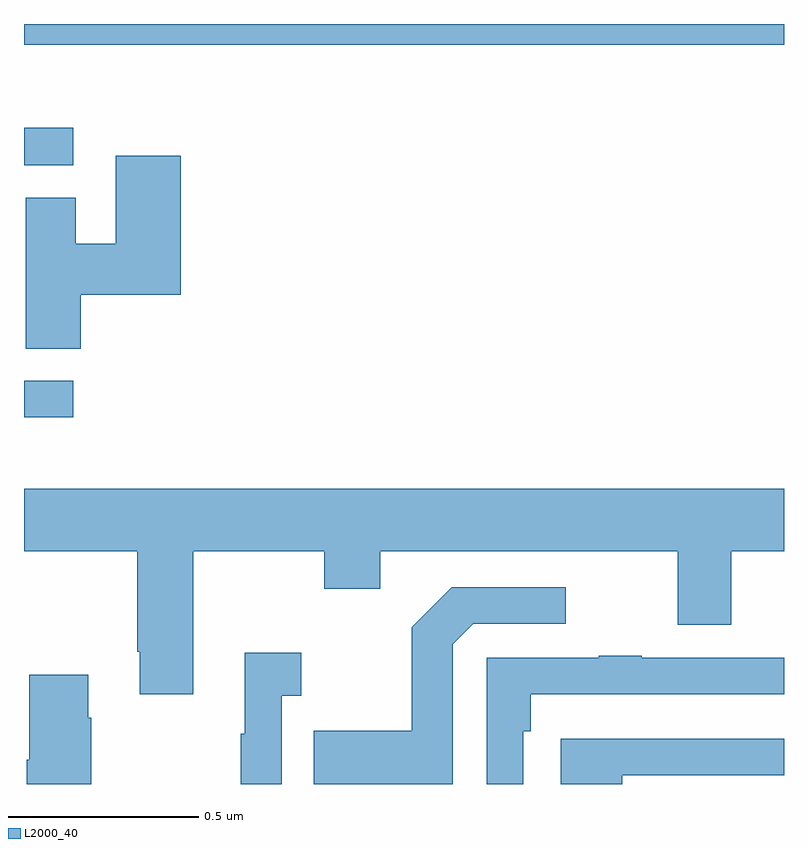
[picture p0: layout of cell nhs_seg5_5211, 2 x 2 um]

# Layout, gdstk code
import gdstk
lib = gdstk.Library(unit=1e-6, precision=1e-09)
def R(c, l, rs):  # rectangles x0, y0, x1, y1
    for r in rs: c.add(gdstk.rectangle(r[:2], r[2:], *l))
def P(c, l, *ps):  # polygons
    for p in ps: c.add(gdstk.Polygon(p, *l))
L2000_40 = (2000, 40)

nhs_seg5_5211 = lib.new_cell('nhs_seg5_5211')
R(nhs_seg5_5211, L2000_40, [(180,871.764,180.13,871.86), (180,872.427,180.13,872.526), (180,872.744,182,872.799)])
P(nhs_seg5_5211, L2000_40, [(180.149,872.087),(180.413,872.087),(180.413,872.452),(180.242,872.452),(180.242,872.221),(180.136,872.221),(180.136,872.342),(180.005,872.342),(180.005,871.945),(180.149,871.945)],
  [(180,871.412),(180.298,871.412),(180.298,871.147),(180.305,871.147),(180.305,871.035),(180.445,871.035),(180.445,871.412),(180.79,871.412),(180.79,871.313),(180.937,871.313),(180.937,871.412),(181.721,871.412),(181.721,871.218),(181.861,871.218),(181.861,871.412),(182,871.412),(182,871.576),(180,871.576)],
  [(181.128,871.167),(181.182,871.221),(181.426,871.221),(181.426,871.317),(181.125,871.317),(181.02,871.211),(181.02,870.939),(180.763,870.939),(180.763,870.799),(181.128,870.799)],
  [(180.678,871.031),(180.73,871.031),(180.73,871.144),(180.581,871.144),(180.581,870.931),(180.57,870.931),(180.57,870.799),(180.678,870.799)],
  [(181.314,870.938),(181.334,870.938),(181.334,871.035),(182,871.035),(182,871.131),(181.625,871.131),(181.625,871.136),(181.513,871.136),(181.513,871.131),(181.218,871.131),(181.218,870.799),(181.314,870.799)],
  [(180.177,870.974),(180.169,870.974),(180.169,871.087),(180.014,871.087),(180.014,870.863),(180.007,870.863),(180.007,870.799),(180.177,870.799)],
  [(181.574,870.822),(182,870.822),(182,870.918),(181.413,870.918),(181.413,870.799),(181.574,870.799)])

lib.write_gds('nhs_seg5_5211.gds')
